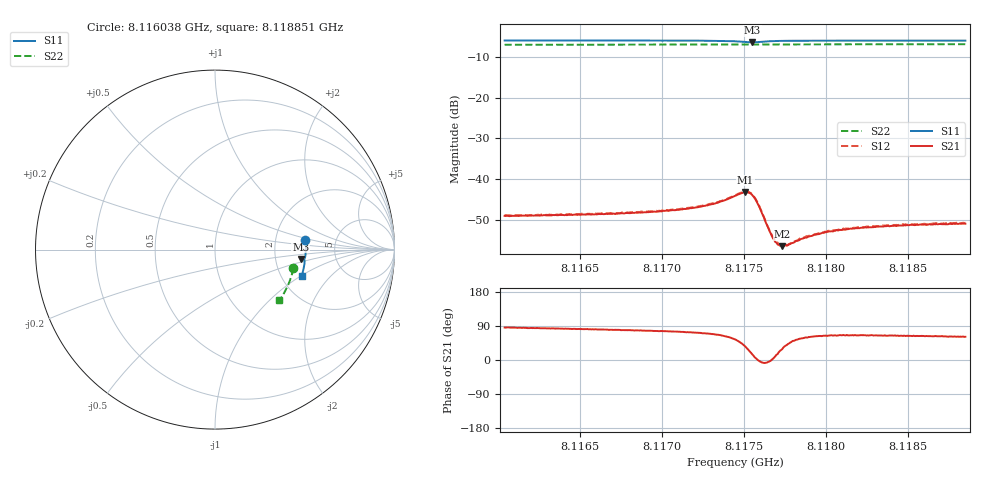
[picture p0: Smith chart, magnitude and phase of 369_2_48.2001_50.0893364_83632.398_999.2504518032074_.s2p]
#  HZ  S  RI  R  50.00
! Rohde & Schwarz Vector Network Analyzer
! Rohde-Schwarz,ZNB20-2Port,1311601062101988,3.16
! Created: UTC 3/20/2024, 11:52:37 AM
! freq[Hz]  re:S11  im:S11  re:S21  im:S21  re:S12  im:S12  re:S22  im:S22
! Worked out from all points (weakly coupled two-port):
!   401 points, 8.116038 GHz to 8.118851 GHz, reference 50 ohm
!   highest |S21| = -43.24 dB at 8.117508 GHz (marker M1); lowest = -56.6 dB at 8.117733 GHz (marker M2)
!   lowest |S11| = -6.4 dB at 8.11755 GHz (marker M3), VSWR 2.85, Z = 140 - j18.8 ohm
!   |S11| at or under -10 dB: nowhere
!   |S22| runs from -7.0 to -6.8 dB; largest |S21 - S12| = 0.00018
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8.1160382e9  0.5042 0.0554  0.000267 0.00349  0.000312 0.00354  0.4366 -0.1038
8.1165093e9  0.5062 0.0199  0.000521 0.00361  0.000595 0.00369  0.4291 -0.1357
8.1169804e9  0.5055 -0.0164  0.000955 0.00385  0.00101 0.00394  0.4192 -0.1669
8.1172476e9  0.5026 -0.0388  0.00155 0.00436  0.00158 0.00443  0.4127 -0.1845
8.1173601e9  0.4992 -0.0496  0.00223 0.0048  0.00231 0.00482  0.4097 -0.1919
8.1174445e9  0.4926 -0.0578  0.00359 0.00504  0.00369 0.00507  0.4067 -0.1972
8.1175078e9  0.4823 -0.0591  0.00561 0.004  0.00573 0.00402  0.4047 -0.2009
8.1175289e9  0.4791 -0.0562  0.0061 0.00292  0.00626 0.00294  0.4039 -0.202
8.1175499e9  0.4781 -0.0517  0.00611 0.00162  0.00622 0.0016  0.4033 -0.203
8.117571e9  0.4799 -0.0475  0.0055 0.000468  0.00562 0.000433  0.403 -0.2043
8.1175851e9  0.4824 -0.0458  0.00488 -3.26e-05  0.005 -6.99e-05  0.4026 -0.2049
8.1176484e9  0.4929 -0.0479  0.00246 -0.000213  0.00249 -0.000219  0.4014 -0.209
8.1176765e9  0.4955 -0.0512  0.00185 0.000108  0.0019 0.000119  0.4007 -0.2109
8.1177046e9  0.4971 -0.0546  0.0015 0.000421  0.00158 0.000461  0.3998 -0.2127
8.1177328e9  0.498 -0.0576  0.0013 0.000717  0.00133 0.000733  0.3991 -0.2147
8.1177609e9  0.4985 -0.0608  0.00116 0.000959  0.00119 0.000993  0.398 -0.2165
8.1178523e9  0.499 -0.0699  0.000994 0.00154  0.00102 0.00154  0.3954 -0.2222
8.1179156e9  0.4986 -0.0755  0.000949 0.00175  0.000981 0.00177  0.3934 -0.2262
8.118007e9  0.4976 -0.0833  0.000986 0.002  0.000991 0.00205  0.3903 -0.2319
8.1181054e9  0.4964 -0.0913  0.000969 0.00217  0.00106 0.00221  0.387 -0.2381
8.1183867e9  0.492 -0.1127  0.00112 0.00235  0.00118 0.00243  0.377 -0.255
8.1188507e9  0.4827 -0.1464  0.00135 0.00246  0.00139 0.00253  0.3589 -0.2822
